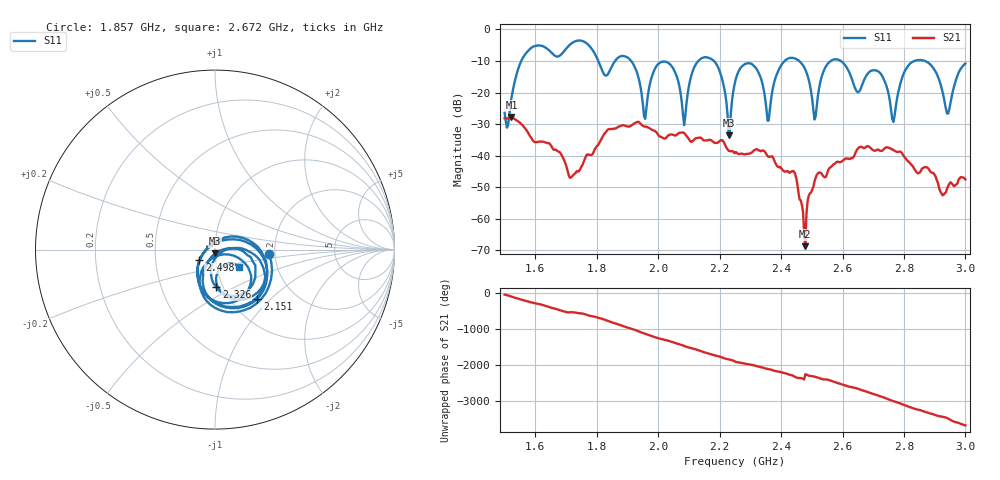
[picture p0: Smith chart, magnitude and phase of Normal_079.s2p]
# HZ S RI R 50
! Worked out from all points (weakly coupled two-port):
!   404 points, 1.5 GHz to 3 GHz, reference 50 ohm
!   highest |S21| = -27.71 dB at 1.522 GHz (marker M1); lowest = -68.7 dB at 2.479 GHz (marker M2)
!   lowest |S11| = -33.6 dB at 2.23 GHz (marker M3), VSWR 1.04, Z = 50 - j2.09 ohm
!   |S11| at or under -10 dB: 1.912 GHz to 2.131 GHz (218.9 MHz wide, 10.8 % of centre); 2.181 GHz to 2.412 GHz (230.4 MHz wide, 10 % of centre); 2.594 GHz to 2.834 GHz (240.2 MHz wide, 8.85 % of centre) (the widest 3 of 7)
!   S12 and S22 are empty: the file has one direction only
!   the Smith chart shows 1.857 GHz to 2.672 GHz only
!   S11 on the Smith chart (normalised r, x): 1.857 GHz: 1.87, -0.11; 2.151 GHz: 1.32, -0.84; 2.326 GHz: 0.93, -0.40; 2.498 GHz: 0.83, -0.10; 2.672 GHz: 1.28, -0.26
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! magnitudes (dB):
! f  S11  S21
! 1.5 GHz  -26.4  -28.2
! 1.522 GHz  -21.7  -27.7
! 1.586 GHz  -6.0  -34.2
! 1.753 GHz  -3.7  -43.0
! 1.857 GHz  -10.3  -31.4
! 1.958 GHz  -28.3  -30.8
! 2.002 GHz  -10.8  -33.8
! 2.084 GHz  -30.3  -32.8
! 2.151 GHz  -8.8  -35.2
! 2.23 GHz  -33.6  -38.5
! 2.252 GHz  -16.0  -38.8
! 2.326 GHz  -13.6  -38.3
! 2.36 GHz  -28.9  -40.4
! 2.408 GHz  -10.4  -44.8
! 2.479 GHz  -12.7  -68.7
! 2.498 GHz  -19.6  -51.7
! 2.501 GHz  -22.1  -50.8
! 2.672 GHz  -15.6  -37.6
! 2.751 GHz  -20.8  -37.5
! 2.862 GHz  -9.8  -43.9
! 2.944 GHz  -26.6  -49.6
! 3 GHz  -10.8  -47.5
